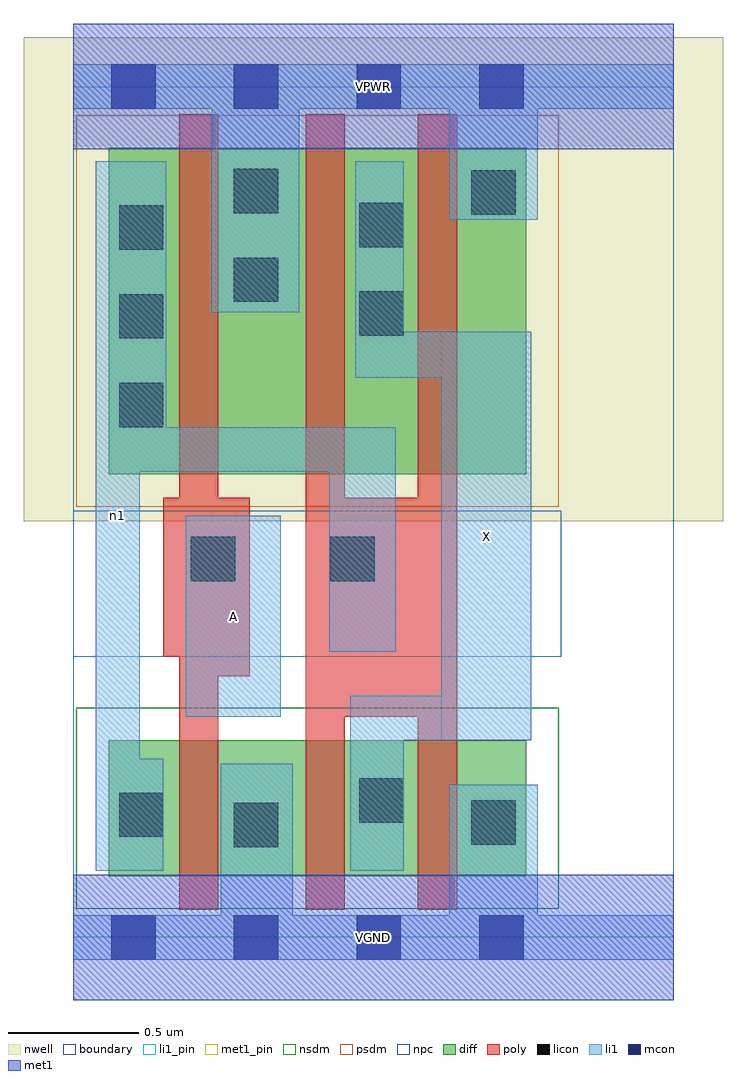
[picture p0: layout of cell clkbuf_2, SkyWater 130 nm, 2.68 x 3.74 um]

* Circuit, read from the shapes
.subckt clkbuf_2 A VGND VPWR X n1
XM1 VGND A n1 VSUBS sky130_fd_pr__nfet_01v8 w=0.52 l=0.15
XM2 X n1 VGND VSUBS sky130_fd_pr__nfet_01v8 w=0.52 l=0.15 m=2
XM3 VPWR A n1 n2 sky130_fd_pr__pfet_01v8 w=1.25 l=0.15
XM4 X n1 VPWR n2 sky130_fd_pr__pfet_01v8 w=1.25 l=0.15 m=2
.ends

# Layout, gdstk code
import gdstk
lib = gdstk.Library(unit=1e-6, precision=1e-09)
def R(c, l, rs):  # rectangles x0, y0, x1, y1
    for r in rs: c.add(gdstk.rectangle(r[:2], r[2:], *l))
def A(c, l, x, y, w, h, nx, ny, dx, dy):  # array of equal rectangles
    R(c, l, [(x+i*dx, y+j*dy, x+i*dx+w, y+j*dy+h) for i in range(nx) for j in range(ny)])
nwell = (64, 20)
diff = (65, 20)
poly = (66, 20)
licon = (66, 44)
li1_pin = (67, 16)
li1 = (67, 20)
mcon = (67, 44)
met1_pin = (68, 16)
met1 = (68, 20)
nsdm = (93, 44)
psdm = (94, 20)
npc = (95, 20)
boundary = (235, 4)

clkbuf_2 = lib.new_cell('clkbuf_2')
R(clkbuf_2, nwell, [(-0.19,1.595,2.49,3.45), (0,1.595,2.3,3.45)])
R(clkbuf_2, diff, [(0.135,0.235,1.735,0.755), (0.135,1.775,1.735,3.025)])
R(clkbuf_2, poly, [(0.405,0.105,0.555,3.155), (0.89,0.105,1.04,3.155), (1.32,0.105,1.47,3.155), (0.89,0.845,1.47,1.685), (0.405,1,0.675,1.685), (0.345,1.075,0.675,1.685)])
A(clkbuf_2, licon, 0.175, 1.955, 0.17, 0.17, 1, 3, 0, 0.34)
R(clkbuf_2, licon, [(0.615,0.345,0.785,0.515), (1.525,0.355,1.695,0.525), (0.175,0.385,0.345,0.555), (1.095,0.44,1.265,0.61), (0.45,1.365,0.62,1.535), (0.985,1.365,1.155,1.535), (1.095,2.305,1.265,2.475), (0.615,2.435,0.785,2.605), (1.095,2.645,1.265,2.815), (1.525,2.77,1.695,2.94), (0.615,2.775,0.785,2.945)])
R(clkbuf_2, li1_pin, [(1.41,0.755,1.755,2.32), (0.43,0.845,0.795,1.615)])
R(clkbuf_2, li1, [(0,-0.085,2.3,0.085), (0.565,-0.085,0.84,0.665), (1.44,-0.085,1.78,0.585), (0.085,0.255,0.255,2.975), (0.085,0.255,0.345,0.685), (1.06,0.255,1.265,0.925), (1.06,0.755,1.755,0.925), (1.41,0.755,1.755,2.32), (0.43,0.845,0.795,1.615), (0.98,1.095,1.235,1.955), (0.085,1.785,1.235,1.955), (0.085,1.785,0.355,2.975), (1.08,2.145,1.265,2.975), (1.08,2.145,1.755,2.32), (0.53,2.395,0.865,3.345), (1.44,2.75,1.78,3.345), (0,3.175,2.3,3.345)])
A(clkbuf_2, mcon, 0.145, -0.085, 0.17, 0.17, 4, 2, 0.47, 3.26)
R(clkbuf_2, met1_pin, [(0,-0.24,2.3,0.24), (0,3.02,2.3,3.5)])
R(clkbuf_2, met1, [(0,-0.24,2.3,0.24), (0,3.02,2.3,3.5)])
R(clkbuf_2, nsdm, [(0.01,0.11,1.86,0.88)])
R(clkbuf_2, psdm, [(0.01,1.65,1.86,3.15)])
R(clkbuf_2, npc, [(0,1.075,1.87,1.635)])
R(clkbuf_2, boundary, [(0,0,2.3,3.26)])
clkbuf_2.add(gdstk.Label('A', (0.612,1.23), layer=67, texttype=5))
clkbuf_2.add(gdstk.Label('X', (1.582,1.537), layer=67, texttype=5))
clkbuf_2.add(gdstk.Label('n1', (0.17,1.615), layer=67, texttype=5))
clkbuf_2.add(gdstk.Label('VPWR', (1.15,3.26), layer=68, texttype=5))
clkbuf_2.add(gdstk.Label('VGND', (1.15,0), layer=68, texttype=5))
clkbuf_2.add(gdstk.Label('A', (0.612,1.23), layer=67, texttype=16))
clkbuf_2.add(gdstk.Label('X', (1.582,1.537), layer=67, texttype=16))
clkbuf_2.add(gdstk.Label('VPWR', (1.15,3.26), layer=68, texttype=16))
clkbuf_2.add(gdstk.Label('VGND', (1.15,0), layer=68, texttype=16))

lib.write_gds('clkbuf_2.gds')
